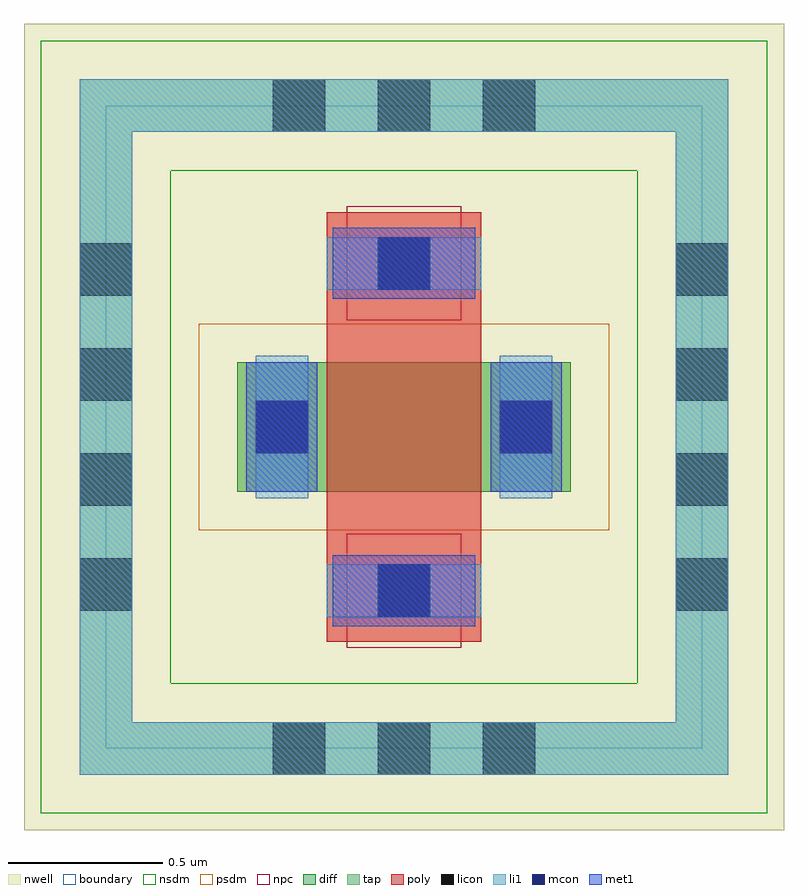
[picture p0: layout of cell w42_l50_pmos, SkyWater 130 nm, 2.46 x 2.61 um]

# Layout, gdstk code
import gdstk
lib = gdstk.Library(unit=1e-6, precision=1e-09)
def R(c, l, rs):  # rectangles x0, y0, x1, y1
    for r in rs: c.add(gdstk.rectangle(r[:2], r[2:], *l))
def A(c, l, x, y, w, h, nx, ny, dx, dy):  # array of equal rectangles
    R(c, l, [(x+i*dx, y+j*dy, x+i*dx+w, y+j*dy+h) for i in range(nx) for j in range(ny)])
nwell = (64, 20)
diff = (65, 20)
tap = (65, 44)
poly = (66, 20)
licon = (66, 44)
li1 = (67, 20)
mcon = (67, 44)
met1 = (68, 20)
nsdm = (93, 44)
psdm = (94, 20)
npc = (95, 20)
boundary = (235, 4)

sky130_fd_pr__pfet_01v8 = lib.new_cell('sky130_fd_pr__pfet_01v8')

w42_l50_pmos = lib.new_cell('w42_l50_pmos')
R(w42_l50_pmos, nwell, [(-1.23,-1.305,1.23,1.305)])
R(w42_l50_pmos, diff, [(-0.54,-0.21,0.54,0.21)])
R(w42_l50_pmos, tap, [(-1.05,-1.125,1.05,-0.955), (-1.05,-0.955,-0.88,0.955), (0.88,-0.955,1.05,0.955), (-1.05,0.955,1.05,1.125)])
R(w42_l50_pmos, poly, [(-0.25,-0.695,0.25,0.695)])
A(w42_l50_pmos, licon, -0.425, -1.125, 0.17, 0.17, 3, 2, 0.34, 2.08)
A(w42_l50_pmos, licon, -1.05, -0.595, 0.17, 0.17, 1, 4, 0, 0.34)
A(w42_l50_pmos, licon, 0.88, -0.595, 0.17, 0.17, 1, 4, 0, 0.34)
R(w42_l50_pmos, licon, [(-0.085,-0.615,0.085,-0.445), (-0.48,-0.085,-0.31,0.085), (0.31,-0.085,0.48,0.085), (-0.085,0.445,0.085,0.615)])
R(w42_l50_pmos, li1, [(-1.05,-1.125,1.05,-0.955), (-1.05,-0.955,-0.88,0.955), (0.88,-0.955,1.05,0.955), (-0.25,-0.615,0.25,-0.445), (-0.48,-0.23,-0.31,0.23), (0.31,-0.23,0.48,0.23), (-0.25,0.445,0.25,0.615), (-1.05,0.955,1.05,1.125)])
R(w42_l50_pmos, mcon, [(-0.085,-0.615,0.085,-0.445), (-0.48,-0.085,-0.31,0.085), (0.31,-0.085,0.48,0.085), (-0.085,0.445,0.085,0.615)])
R(w42_l50_pmos, met1, [(-0.23,-0.645,0.23,-0.415), (-0.51,-0.21,-0.28,0.21), (0.28,-0.21,0.51,0.21), (-0.23,0.415,0.23,0.645)])
R(w42_l50_pmos, nsdm, [(-1.175,-1.25,1.175,-0.83), (-1.175,-0.83,-0.755,0.83), (0.755,-0.83,1.175,0.83), (-1.175,0.83,1.175,1.25)])
R(w42_l50_pmos, psdm, [(-0.665,-0.335,0.665,0.335)])
R(w42_l50_pmos, npc, [(-0.185,-0.715,0.185,-0.345), (-0.185,0.345,0.185,0.715)])
R(w42_l50_pmos, boundary, [(-0.965,-1.04,0.965,1.04)])
w42_l50_pmos.add(gdstk.Reference(sky130_fd_pr__pfet_01v8, (0,0)))

lib.write_gds('w42_l50_pmos.gds')
